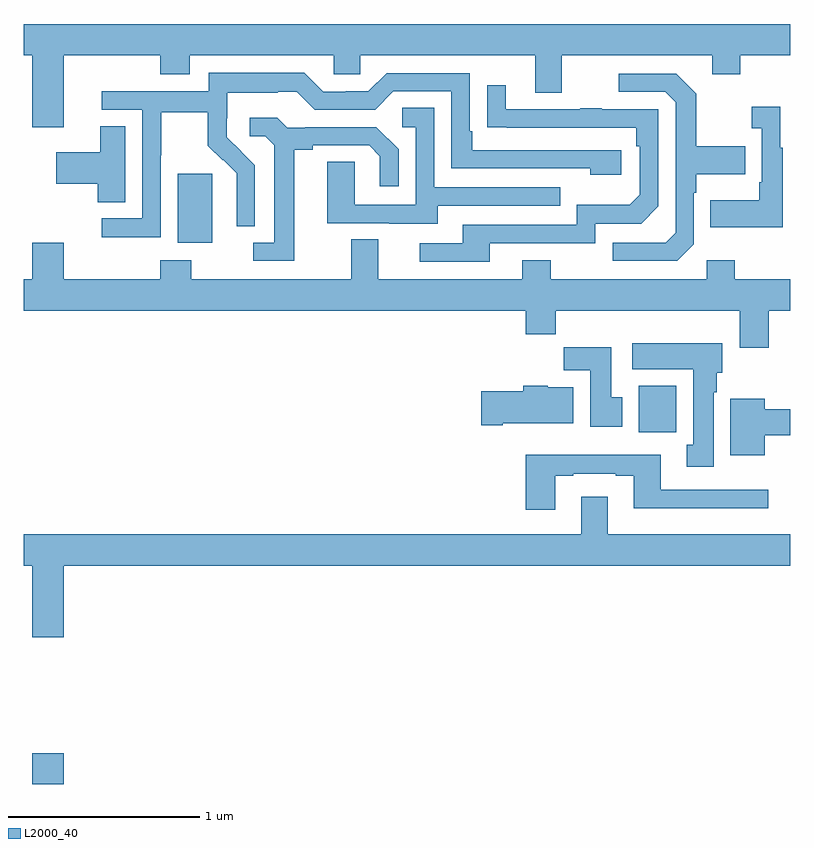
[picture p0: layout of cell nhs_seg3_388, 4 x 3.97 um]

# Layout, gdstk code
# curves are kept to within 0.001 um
import gdstk
lib = gdstk.Library(unit=1e-6, precision=1e-09)
def R(c, l, rs):  # rectangles x0, y0, x1, y1
    for r in rs: c.add(gdstk.rectangle(r[:2], r[2:], *l))
def P(c, l, *ps):  # polygons
    for p in ps: c.add(gdstk.Polygon(p, *l))
L2000_40 = (2000, 40)

nhs_seg3_388 = lib.new_cell('nhs_seg3_388')
R(nhs_seg3_388, L2000_40, [(129.044,742.4,129.208,742.561), (132.209,744.236,132.406,744.478), (129.803,745.226,129.982,745.587)])
P(nhs_seg3_388, L2000_40, [(129.208,746.204),(129.713,746.204),(129.713,746.105),(129.865,746.105),(129.865,746.204),(130.617,746.204),(130.617,746.106),(130.755,746.106),(130.755,746.204),(131.669,746.204),(131.669,746.01),(131.809,746.01),(131.809,746.204),(132.593,746.204),(132.593,746.105),(132.741,746.105),(132.741,746.204),(133,746.204),(133,746.368),(129,746.368),(129,746.204),(129.044,746.204),(129.044,745.83),(129.208,745.83)],
  [(129.714,745.684),(129.717,745.684),(129.717,745.908),(129.961,745.908),(129.961,745.733),(130.038,745.656),(130.041,745.659),(130.112,745.589),(130.112,745.466),(130.11,745.466),(130.11,745.312),(130.206,745.312),(130.206,745.63),(130.06,745.778),(130.06,745.875),(130.062,745.875),(130.062,746.009),(130.325,746.009),(130.325,746.013),(130.425,746.013),(130.518,745.92),(130.833,745.92),(130.929,746.016),(131.232,746.016),(131.232,745.614),(131.957,745.614),(131.957,745.58),(132.118,745.58),(132.118,745.71),(131.341,745.71),(131.341,745.807),(131.328,745.807),(131.328,746.112),(130.893,746.112),(130.797,746.016),(130.679,746.016),(130.679,746.013),(130.563,746.013),(130.463,746.113),(129.966,746.113),(129.966,746.016),(129.405,746.016),(129.405,745.92),(129.618,745.92),(129.618,745.353),(129.405,745.353),(129.405,745.255),(129.714,745.255)],
  [(132.498,745.218),(132.498,745.487),(132.511,745.487),(132.511,745.583),(132.767,745.583),(132.767,745.731),(132.511,745.731),(132.511,746.003),(132.405,746.109),(132.105,746.109),(132.105,746.013),(132.348,746.013),(132.402,745.959),(132.402,745.278),(132.351,745.227),(132.075,745.227),(132.075,745.131),(132.411,745.131)],
  [(131.431,745.224),(131.982,745.224),(131.982,745.326),(132.222,745.326),(132.312,745.416),(132.312,745.923),(132.017,745.923),(132.017,745.928),(131.905,745.928),(131.905,745.923),(131.515,745.923),(131.515,746.047),(131.419,746.047),(131.419,745.828),(132.196,745.827),(132.196,745.73),(132.216,745.73),(132.216,745.476),(132.163,745.423),(131.886,745.423),(131.886,745.32),(131.291,745.32),(131.291,745.224),(131.067,745.224),(131.067,745.128),(131.431,745.128)],
  [(132.961,745.723),(132.949,745.723),(132.949,745.936),(132.801,745.936),(132.801,745.823),(132.852,745.823),(132.852,745.543),(132.84,745.543),(132.84,745.447),(132.583,745.447),(132.583,745.307),(132.961,745.307)],
  [(131.161,745.419),(131.801,745.419),(131.801,745.515),(131.142,745.515),(131.142,745.931),(130.974,745.931),(130.974,745.83),(131.046,745.83),(131.046,745.425),(130.728,745.425),(130.728,745.649),(130.583,745.649),(130.583,745.329),(130.907,745.329),(130.907,745.325),(131.161,745.325)],
  [(130.411,745.712),(130.507,745.712),(130.507,745.734),(130.802,745.734),(130.859,745.677),(130.859,745.521),(130.956,745.521),(130.956,745.714),(130.84,745.83),(130.468,745.83),(130.468,745.827),(130.374,745.827),(130.322,745.879),(130.179,745.879),(130.179,745.782),(130.26,745.782),(130.307,745.735),(130.307,745.227),(130.197,745.227),(130.197,745.131),(130.411,745.131)],
  [(129.529,745.835),(129.398,745.835),(129.398,745.699),(129.168,745.699),(129.168,745.534),(129.386,745.534),(129.386,745.438),(129.529,745.438)],
  [(132.89,744.872),(133,744.872),(133,745.036),(132.711,745.036),(132.711,745.135),(132.564,745.135),(132.564,745.036),(131.751,745.036),(131.751,745.135),(131.603,745.135),(131.603,745.036),(130.849,745.036),(130.849,745.244),(130.709,745.244),(130.709,745.036),(129.873,745.036),(129.873,745.135),(129.713,745.135),(129.713,745.036),(129.208,745.036),(129.208,745.225),(129.044,745.225),(129.044,745.036),(129,745.036),(129,744.872),(131.621,744.872),(131.621,744.748),(131.777,744.748),(131.777,744.872),(132.737,744.872),(132.737,744.678),(132.89,744.678)],
  [(132.601,744.446),(132.616,744.446),(132.616,744.546),(132.646,744.546),(132.646,744.7),(132.177,744.7),(132.177,744.566),(132.494,744.566),(132.494,744.17),(132.461,744.17),(132.461,744.057),(132.601,744.057)],
  [(132.124,744.42),(132.067,744.42),(132.067,744.679),(131.818,744.679),(131.818,744.56),(131.957,744.56),(131.957,744.264),(132.124,744.264)],
  [(131.5,744.284),(131.869,744.284),(131.869,744.472),(131.736,744.472),(131.736,744.478),(131.606,744.478),(131.606,744.45),(131.388,744.45),(131.388,744.272),(131.5,744.272)],
  [(132.868,744.22),(133,744.22),(133,744.356),(132.868,744.356),(132.868,744.412),(132.689,744.412),(132.689,744.116),(132.868,744.116)],
  [(131.773,744.009),(131.869,744.009),(131.869,744.021),(132.089,744.021),(132.089,744.009),(132.185,744.009),(132.185,743.84),(132.886,743.84),(132.886,743.937),(132.325,743.937),(132.325,744.118),(131.621,744.118),(131.621,743.832),(131.773,743.832)],
  [(129.208,743.54),(133,743.54),(133,743.704),(132.049,743.704),(132.049,743.899),(131.909,743.899),(131.909,743.704),(129,743.704),(129,743.54),(129.044,743.54),(129.044,743.166),(129.208,743.166)])

lib.write_gds('nhs_seg3_388.gds')
